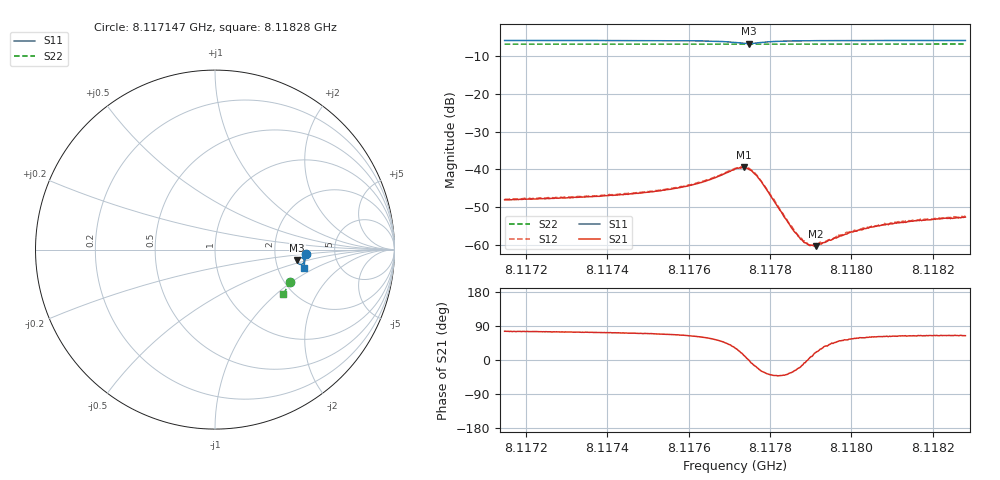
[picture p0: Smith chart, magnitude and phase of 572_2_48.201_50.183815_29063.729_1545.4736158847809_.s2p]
#  HZ  S  RI  R  50.00
! Rohde & Schwarz Vector Network Analyzer
! Rohde-Schwarz,ZNB20-2Port,1311601062101988,3.16
! Created: UTC 3/20/2024, 12:01:44 PM
! freq[Hz]  re:S11  im:S11  re:S21  im:S21  re:S12  im:S12  re:S22  im:S22
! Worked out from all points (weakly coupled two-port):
!   401 points, 8.117147 GHz to 8.11828 GHz, reference 50 ohm
!   highest |S21| = -39.47 dB at 8.117737 GHz (marker M1); lowest = -60.2 dB at 8.117912 GHz (marker M2)
!   lowest |S11| = -6.7 dB at 8.117748 GHz (marker M3), VSWR 2.72, Z = 132 - j20 ohm
!   |S11| at or under -10 dB: nowhere
!   |S22| runs from -6.9 to -6.8 dB; largest |S21 - S12| = 0.00039
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8.1171475e9  0.5059 -0.0267  0.000967 0.00383  0.00104 0.00393  0.4152 -0.1784
8.1173372e9  0.5043 -0.0426  0.00125 0.00411  0.00124 0.00423  0.4102 -0.1908
8.117527e9  0.5007 -0.0605  0.0019 0.00485  0.00199 0.00491  0.4048 -0.2027
8.1175836e9  0.4984 -0.067  0.00241 0.00532  0.00246 0.00538  0.4031 -0.2066
8.1176261e9  0.4949 -0.073  0.00317 0.0058  0.0033 0.00586  0.4016 -0.2094
8.1176601e9  0.4896 -0.0783  0.00433 0.00623  0.00446 0.00634  0.4003 -0.2115
8.1177139e9  0.469 -0.081  0.0086 0.00532  0.00877 0.00538  0.3978 -0.2147
8.1177366e9  0.4585 -0.0692  0.0104 0.00208  0.0106 0.00217  0.3967 -0.2154
8.1177479e9  0.4579 -0.0596  0.01 -1.52e-05  0.0104 -0.000136  0.3966 -0.2156
8.117762e9  0.4637 -0.0494  0.00843 -0.00229  0.00867 -0.0024  0.3965 -0.2161
8.1177734e9  0.4708 -0.0453  0.00677 -0.00315  0.00691 -0.00325  0.3966 -0.2165
8.1178527e9  0.4961 -0.0574  0.00141 -0.000923  0.00147 -0.000993  0.3953 -0.2222
8.117864e9  0.497 -0.0595  0.00128 -0.00064  0.00131 -0.000626  0.3948 -0.2231
8.1178867e9  0.498 -0.0634  0.00106 -0.000131  0.00108 -0.000121  0.3941 -0.2245
8.1179036e9  0.4986 -0.0658  0.000985 0.000167  0.00099 0.000211  0.3935 -0.2257
8.1179121e9  0.4986 -0.0672  0.000916 0.000332  0.000973 0.000315  0.3934 -0.2261
8.117932e9  0.4989 -0.0699  0.000884 0.000612  0.000902 0.000583  0.3928 -0.2275
8.1179914e9  0.4988 -0.0767  0.00085 0.00114  0.000887 0.00117  0.3906 -0.2312
8.1180509e9  0.4985 -0.0826  0.00083 0.00151  0.000904 0.00155  0.3888 -0.235
8.1180934e9  0.4978 -0.0866  0.000873 0.00169  0.000886 0.00168  0.3873 -0.2376
8.1181387e9  0.4973 -0.0905  0.000912 0.00183  0.000979 0.00187  0.3857 -0.2405
8.1182803e9  0.495 -0.1023  0.00102 0.00211  0.00103 0.00219  0.3806 -0.2489
